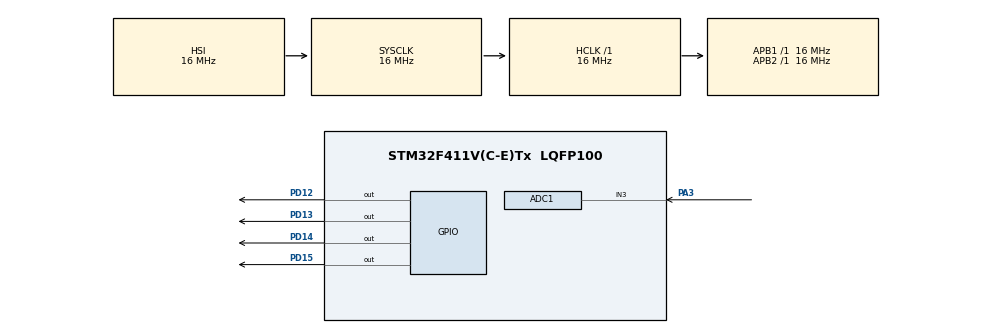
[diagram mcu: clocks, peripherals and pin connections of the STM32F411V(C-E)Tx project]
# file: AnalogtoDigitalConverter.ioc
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ADC1.Channel-1\#ChannelRegularConversion=ADC_CHANNEL_3
ADC1.ClockPrescaler=ADC_CLOCK_SYNC_PCLK_DIV8
ADC1.NbrOfConversionFlag=1
ADC1.Rank-1\#ChannelRegularConversion=1
ADC1.SamplingTime-1\#ChannelRegularConversion=ADC_SAMPLETIME_480CYCLES
ADC1.master=1
Mcu.Family=STM32F4
Mcu.Name=STM32F411V(C-E)Tx
Mcu.Package=LQFP100
NVIC.ADC_IRQn=true\:0\:0\:false\:false\:true\:true\:true\:true
NVIC.PriorityGroup=NVIC_PRIORITYGROUP_4
PA3.Signal=ADCx_IN3
PD12.Signal=GPIO_Output
PD13.Signal=GPIO_Output
PD14.Signal=GPIO_Output
PD15.Signal=GPIO_Output
ProjectManager.HeapSize=0x200
ProjectManager.StackSize=0x400
ProjectManager.TargetToolchain=STM32CubeIDE
RCC.AHBFreq_Value=16000000
RCC.APB1Freq_Value=16000000
RCC.APB2Freq_Value=16000000
RCC.CortexFreq_Value=16000000
RCC.HSE_VALUE=25000000
RCC.HSI_VALUE=16000000
RCC.LSE_VALUE=32768
RCC.SYSCLKFreq_VALUE=16000000
RCC.VCOOutputFreq_Value=192000000
SH.ADCx_IN3.0=ADC1_IN3,IN3
board=custom

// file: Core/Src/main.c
/* USER CODE BEGIN Header */
/**
  ******************************************************************************
  * @file           : main.c
  * @brief          : Main program body
  ******************************************************************************
  * @attention
  *
  * Copyright (c) 2023 STMicroelectronics.
  * All rights reserved.
  *
  * This software is licensed under terms that can be found in the LICENSE file
  * in the root directory of this software component.
  * If no LICENSE file comes with this software, it is provided AS-IS.
  *
  ******************************************************************************
  */
/* USER CODE END Header */
#include "main.h"

ADC_HandleTypeDef hadc1;

void SystemClock_Config(void);
static void MX_GPIO_Init(void);
static void MX_ADC1_Init(void);

/* USER CODE BEGIN PFP */
void HAL_ADC_ConvCpltCallback(ADC_HandleTypeDef* hadc) {
	uint32_t adcValue;

	if(hadc -> Instance == ADC1) {
		adcValue = HAL_ADC_GetValue(&hadc1);

		HAL_GPIO_WritePin(GPIOD, GPIO_PIN_12|GPIO_PIN_13|GPIO_PIN_14|GPIO_PIN_15, GPIO_PIN_SET);
		if(adcValue < 819) {
			HAL_GPIO_WritePin(GPIOD, GPIO_PIN_12|GPIO_PIN_13|GPIO_PIN_14|GPIO_PIN_15, GPIO_PIN_RESET);
		} else if (adcValue < 1638) {
			HAL_GPIO_WritePin(GPIOD, GPIO_PIN_13|GPIO_PIN_14|GPIO_PIN_15, GPIO_PIN_RESET);
			HAL_GPIO_WritePin(GPIOD, GPIO_PIN_12, GPIO_PIN_SET);
		} else if (adcValue < 2458) {
			HAL_GPIO_WritePin(GPIOD, GPIO_PIN_14|GPIO_PIN_15, GPIO_PIN_RESET);
			HAL_GPIO_WritePin(GPIOD, GPIO_PIN_13|GPIO_PIN_12, GPIO_PIN_SET);
		} else if (adcValue < 3277) {
			HAL_GPIO_WritePin(GPIOD, GPIO_PIN_15, GPIO_PIN_RESET);
			HAL_GPIO_WritePin(GPIOD, GPIO_PIN_14|GPIO_PIN_13|GPIO_PIN_12, GPIO_PIN_SET);
		} else {
			HAL_GPIO_WritePin(GPIOD, GPIO_PIN_14, GPIO_PIN_RESET);
			HAL_GPIO_WritePin(GPIOD, GPIO_PIN_15|GPIO_PIN_13|GPIO_PIN_12, GPIO_PIN_SET);
		}

		HAL_ADC_Start_IT(&hadc1);
	}
}

/* USER CODE END PFP */

int main(void)
{

  /* MCU Configuration--------------------------------------------------------*/

  /* Reset of all peripherals, Initializes the Flash interface and the Systick. */
  HAL_Init();

  /* Configure the system clock */
  SystemClock_Config();

  /* Initialize all configured peripherals */
  MX_GPIO_Init();
  MX_ADC1_Init();
  /* USER CODE BEGIN 2 */

  HAL_ADC_Start_IT(&hadc1);
  /* USER CODE END 2 */

  /* Infinite loop */
  while (1)
  {

  }
}

void SystemClock_Config(void)
{
  RCC_OscInitTypeDef RCC_OscInitStruct = {0};
  RCC_ClkInitTypeDef RCC_ClkInitStruct = {0};

  /** Configure the main internal regulator output voltage
  */
  __HAL_RCC_PWR_CLK_ENABLE();
  __HAL_PWR_VOLTAGESCALING_CONFIG(PWR_REGULATOR_VOLTAGE_SCALE1);

  /** Initializes the RCC Oscillators according to the specified parameters
  * in the RCC_OscInitTypeDef structure.
  */
  RCC_OscInitStruct.OscillatorType = RCC_OSCILLATORTYPE_HSI;
  RCC_OscInitStruct.HSIState = RCC_HSI_ON;
  RCC_OscInitStruct.HSICalibrationValue = RCC_HSICALIBRATION_DEFAULT;
  RCC_OscInitStruct.PLL.PLLState = RCC_PLL_NONE;
  if (HAL_RCC_OscConfig(&RCC_OscInitStruct) != HAL_OK)
  {
    Error_Handler();
  }

  /** Initializes the CPU, AHB and APB buses clocks
  */
  RCC_ClkInitStruct.ClockType = RCC_CLOCKTYPE_HCLK|RCC_CLOCKTYPE_SYSCLK
                              |RCC_CLOCKTYPE_PCLK1|RCC_CLOCKTYPE_PCLK2;
  RCC_ClkInitStruct.SYSCLKSource = RCC_SYSCLKSOURCE_HSI;
  RCC_ClkInitStruct.AHBCLKDivider = RCC_SYSCLK_DIV1;
  RCC_ClkInitStruct.APB1CLKDivider = RCC_HCLK_DIV1;
  RCC_ClkInitStruct.APB2CLKDivider = RCC_HCLK_DIV1;

  if (HAL_RCC_ClockConfig(&RCC_ClkInitStruct, FLASH_LATENCY_0) != HAL_OK)
  {
    Error_Handler();
  }
}

static void MX_ADC1_Init(void)
{

  ADC_ChannelConfTypeDef sConfig = {0};

  /** Configure the global features of the ADC (Clock, Resolution, Data Alignment and number of conversion)
  */
  hadc1.Instance = ADC1;
  hadc1.Init.ClockPrescaler = ADC_CLOCK_SYNC_PCLK_DIV8;
  hadc1.Init.Resolution = ADC_RESOLUTION_12B;
  hadc1.Init.ScanConvMode = DISABLE;
  hadc1.Init.ContinuousConvMode = DISABLE;
  hadc1.Init.DiscontinuousConvMode = DISABLE;
  hadc1.Init.ExternalTrigConvEdge = ADC_EXTERNALTRIGCONVEDGE_NONE;
  hadc1.Init.ExternalTrigConv = ADC_SOFTWARE_START;
  hadc1.Init.DataAlign = ADC_DATAALIGN_RIGHT;
  hadc1.Init.NbrOfConversion = 1;
  hadc1.Init.DMAContinuousRequests = DISABLE;
  hadc1.Init.EOCSelection = ADC_EOC_SINGLE_CONV;
  if (HAL_ADC_Init(&hadc1) != HAL_OK)
  {
    Error_Handler();
  }

  /** Configure for the selected ADC regular channel its corresponding rank in the sequencer and its sample time.
  */
  sConfig.Channel = ADC_CHANNEL_3;
  sConfig.Rank = 1;
  sConfig.SamplingTime = ADC_SAMPLETIME_480CYCLES;
  if (HAL_ADC_ConfigChannel(&hadc1, &sConfig) != HAL_OK)
  {
    Error_Handler();
  }

}

static void MX_GPIO_Init(void)
{
  GPIO_InitTypeDef GPIO_InitStruct = {0};

  /* GPIO Ports Clock Enable */
  __HAL_RCC_GPIOA_CLK_ENABLE();
  __HAL_RCC_GPIOD_CLK_ENABLE();

  /*Configure GPIO pin Output Level */
  HAL_GPIO_WritePin(GPIOD, GPIO_PIN_12|GPIO_PIN_13|GPIO_PIN_14|GPIO_PIN_15, GPIO_PIN_RESET);

  /*Configure GPIO pins : PD12 PD13 PD14 PD15 */
  GPIO_InitStruct.Pin = GPIO_PIN_12|GPIO_PIN_13|GPIO_PIN_14|GPIO_PIN_15;
  GPIO_InitStruct.Mode = GPIO_MODE_OUTPUT_PP;
  GPIO_InitStruct.Pull = GPIO_NOPULL;
  GPIO_InitStruct.Speed = GPIO_SPEED_FREQ_LOW;
  HAL_GPIO_Init(GPIOD, &GPIO_InitStruct);

}

void Error_Handler(void)
{
  __disable_irq();
  while (1)
  {
  }
}
